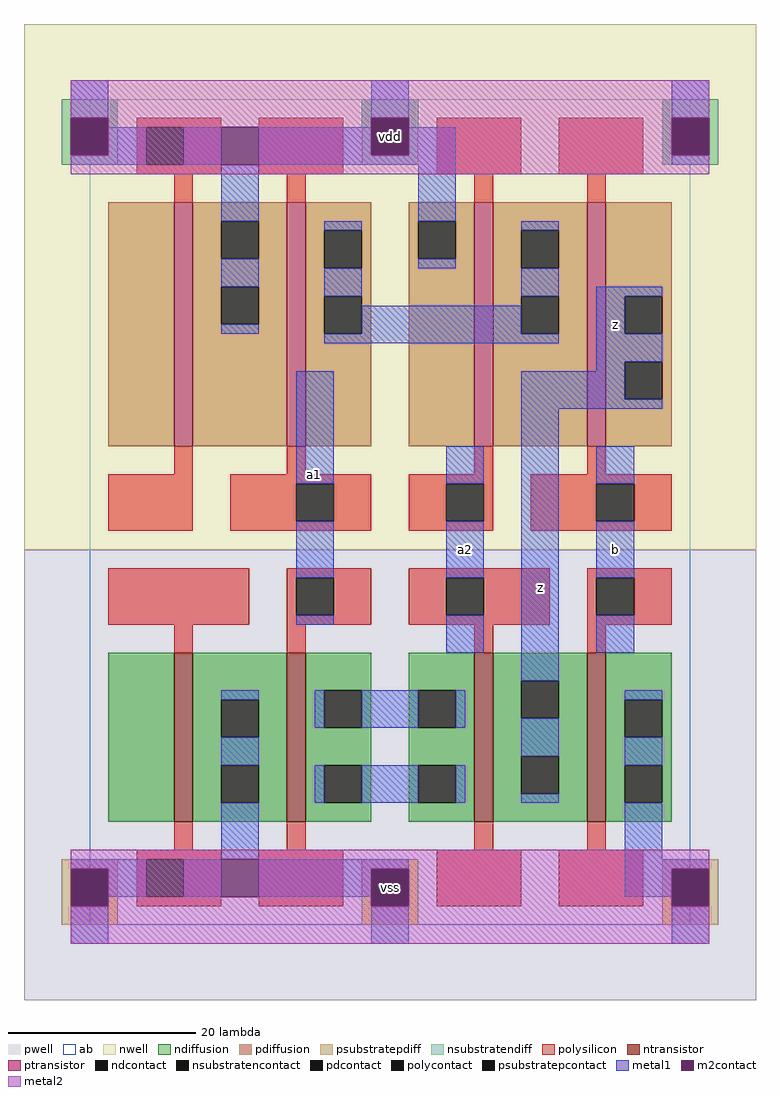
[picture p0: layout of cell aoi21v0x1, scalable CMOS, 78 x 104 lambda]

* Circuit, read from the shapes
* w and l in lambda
.subckt aoi21v0x1 a1 a2 b vdd vss z
M1 vss vss n1 vss nfet w=18 l=2
M2 n2 a1 vss vss nfet w=18 l=2
M3 z a2 n2 vss nfet w=18 l=2
M4 vss b z vss nfet w=18 l=2
M5 vdd vdd n3 vdd pfet w=26 l=2
M6 n4 a1 vdd vdd pfet w=26 l=2
M7 n4 a2 vdd vdd pfet w=26 l=2
M8 z b n4 vdd pfet w=26 l=2
.ends

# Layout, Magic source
magic
tech scmos
<< ab >>
rect 0 0 64 88
<< pwell >>
rect -7 -8 71 40
<< nwell >>
rect -7 40 71 96
<< polysilicon >>
rect 5 85 14 86
rect 5 81 6 85
rect 10 81 14 85
rect 5 80 14 81
rect 18 80 27 86
rect 37 80 46 86
rect 50 80 59 86
rect 9 77 11 80
rect 21 77 23 80
rect 41 77 43 80
rect 53 77 55 80
rect 9 48 11 51
rect 21 48 23 51
rect 41 48 43 51
rect 53 48 55 51
rect 2 42 11 48
rect 15 47 30 48
rect 15 43 22 47
rect 26 43 30 47
rect 15 42 30 43
rect 34 47 43 48
rect 34 43 38 47
rect 42 43 43 47
rect 34 42 43 43
rect 47 47 62 48
rect 47 43 54 47
rect 58 43 62 47
rect 47 42 62 43
rect 2 32 17 38
rect 21 37 30 38
rect 21 33 22 37
rect 26 33 30 37
rect 21 32 30 33
rect 34 37 49 38
rect 34 33 38 37
rect 42 33 49 37
rect 34 32 49 33
rect 53 37 62 38
rect 53 33 54 37
rect 58 33 62 37
rect 53 32 62 33
rect 9 29 11 32
rect 21 29 23 32
rect 41 29 43 32
rect 53 29 55 32
rect 9 8 11 11
rect 21 8 23 11
rect 41 8 43 11
rect 53 8 55 11
rect 5 7 14 8
rect 5 3 6 7
rect 10 3 14 7
rect 5 2 14 3
rect 18 2 27 8
rect 37 2 46 8
rect 50 2 59 8
<< ndiffusion >>
rect 2 11 9 29
rect 11 24 21 29
rect 11 20 14 24
rect 18 20 21 24
rect 11 17 21 20
rect 11 13 14 17
rect 18 13 21 17
rect 11 11 21 13
rect 23 25 30 29
rect 23 21 25 25
rect 29 21 30 25
rect 23 17 30 21
rect 23 13 25 17
rect 29 13 30 17
rect 23 11 30 13
rect 34 25 41 29
rect 34 21 35 25
rect 39 21 41 25
rect 34 17 41 21
rect 34 13 35 17
rect 39 13 41 17
rect 34 11 41 13
rect 43 26 53 29
rect 43 22 46 26
rect 50 22 53 26
rect 43 18 53 22
rect 43 14 46 18
rect 50 14 53 18
rect 43 11 53 14
rect 55 24 62 29
rect 55 20 57 24
rect 61 20 62 24
rect 55 17 62 20
rect 55 13 57 17
rect 61 13 62 17
rect 55 11 62 13
<< pdiffusion >>
rect 2 51 9 77
rect 11 75 21 77
rect 11 71 14 75
rect 18 71 21 75
rect 11 68 21 71
rect 11 64 14 68
rect 18 64 21 68
rect 11 51 21 64
rect 23 74 30 77
rect 23 70 25 74
rect 29 70 30 74
rect 23 67 30 70
rect 23 63 25 67
rect 29 63 30 67
rect 23 51 30 63
rect 34 75 41 77
rect 34 71 35 75
rect 39 71 41 75
rect 34 51 41 71
rect 43 74 53 77
rect 43 70 46 74
rect 50 70 53 74
rect 43 67 53 70
rect 43 63 46 67
rect 50 63 53 67
rect 43 51 53 63
rect 55 67 62 77
rect 55 63 57 67
rect 61 63 62 67
rect 55 60 62 63
rect 55 56 57 60
rect 61 56 62 60
rect 55 51 62 56
<< metal1 >>
rect -2 86 2 90
rect 30 86 34 90
rect 2 82 6 85
rect -2 81 6 82
rect 10 81 14 85
rect 18 82 30 85
rect 62 86 66 90
rect 34 82 39 85
rect 18 81 39 82
rect 62 81 66 82
rect 14 75 18 81
rect 35 75 39 81
rect 14 68 18 71
rect 14 63 18 64
rect 25 74 29 75
rect 35 70 39 71
rect 46 74 50 75
rect 25 67 29 70
rect 46 67 50 70
rect 29 63 46 66
rect 25 62 50 63
rect 54 67 61 68
rect 54 63 57 67
rect 54 60 61 63
rect 54 59 57 60
rect 22 47 26 59
rect 46 56 57 59
rect 46 55 61 56
rect 22 37 26 43
rect 22 32 26 33
rect 38 47 42 51
rect 38 37 42 43
rect 38 29 42 33
rect 46 26 50 55
rect 54 47 58 51
rect 54 37 58 43
rect 54 29 58 33
rect 14 24 18 25
rect 24 21 25 25
rect 29 21 35 25
rect 39 21 40 25
rect 14 17 18 20
rect 46 18 50 22
rect 24 13 25 17
rect 29 13 35 17
rect 39 13 40 17
rect 46 13 50 14
rect 57 24 61 25
rect 57 17 61 20
rect 14 7 18 13
rect 57 7 61 13
rect -2 6 6 7
rect 2 3 6 6
rect 10 3 14 7
rect 18 6 34 7
rect 18 3 30 6
rect -2 -2 2 2
rect 57 6 66 7
rect 57 3 62 6
rect 30 -2 34 2
rect 62 -2 66 2
<< metal2 >>
rect -2 86 66 90
rect 2 85 30 86
rect 2 82 14 85
rect -2 81 14 82
rect 18 82 30 85
rect 34 82 62 86
rect 18 81 66 82
rect -2 80 66 81
rect -2 7 66 8
rect -2 6 14 7
rect 2 3 14 6
rect 18 6 66 7
rect 18 3 30 6
rect 2 2 30 3
rect 34 2 62 6
rect -2 -2 66 2
<< ntransistor >>
rect 9 11 11 29
rect 21 11 23 29
rect 41 11 43 29
rect 53 11 55 29
<< ptransistor >>
rect 9 51 11 77
rect 21 51 23 77
rect 41 51 43 77
rect 53 51 55 77
<< polycontact >>
rect 6 81 10 85
rect 22 43 26 47
rect 38 43 42 47
rect 54 43 58 47
rect 22 33 26 37
rect 38 33 42 37
rect 54 33 58 37
rect 6 3 10 7
<< ndcontact >>
rect 14 20 18 24
rect 14 13 18 17
rect 25 21 29 25
rect 25 13 29 17
rect 35 21 39 25
rect 35 13 39 17
rect 46 22 50 26
rect 46 14 50 18
rect 57 20 61 24
rect 57 13 61 17
<< pdcontact >>
rect 14 71 18 75
rect 14 64 18 68
rect 25 70 29 74
rect 25 63 29 67
rect 35 71 39 75
rect 46 70 50 74
rect 46 63 50 67
rect 57 63 61 67
rect 57 56 61 60
<< m2contact >>
rect -2 82 2 86
rect 14 81 18 85
rect 30 82 34 86
rect 62 82 66 86
rect -2 2 2 6
rect 14 3 18 7
rect 30 2 34 6
rect 62 2 66 6
<< psubstratepcontact >>
rect -2 2 2 6
rect 30 2 34 6
rect 62 2 66 6
<< nsubstratencontact >>
rect -2 82 2 86
rect 30 82 34 86
rect 62 82 66 86
<< psubstratepdiff >>
rect -3 6 3 7
rect -3 2 -2 6
rect 2 2 3 6
rect 29 6 35 7
rect 29 2 30 6
rect 34 2 35 6
rect 61 6 67 7
rect 61 2 62 6
rect 66 2 67 6
rect -3 0 3 2
rect 29 0 35 2
rect 61 0 67 2
<< nsubstratendiff >>
rect -3 86 3 88
rect 29 86 35 88
rect 61 86 67 88
rect -3 82 -2 86
rect 2 82 3 86
rect -3 81 3 82
rect 29 82 30 86
rect 34 82 35 86
rect 29 81 35 82
rect 61 82 62 86
rect 66 82 67 86
rect 61 81 67 82
<< labels >>
rlabel metal1 24 48 24 48 6 a1
rlabel metal1 40 40 40 40 6 a2
rlabel metal1 48 36 48 36 6 z
rlabel metal1 56 40 56 40 6 b
rlabel metal1 56 64 56 64 6 z
rlabel m2contact 32 4 32 4 6 vss
rlabel m2contact 32 84 32 84 6 vdd
<< end >>
